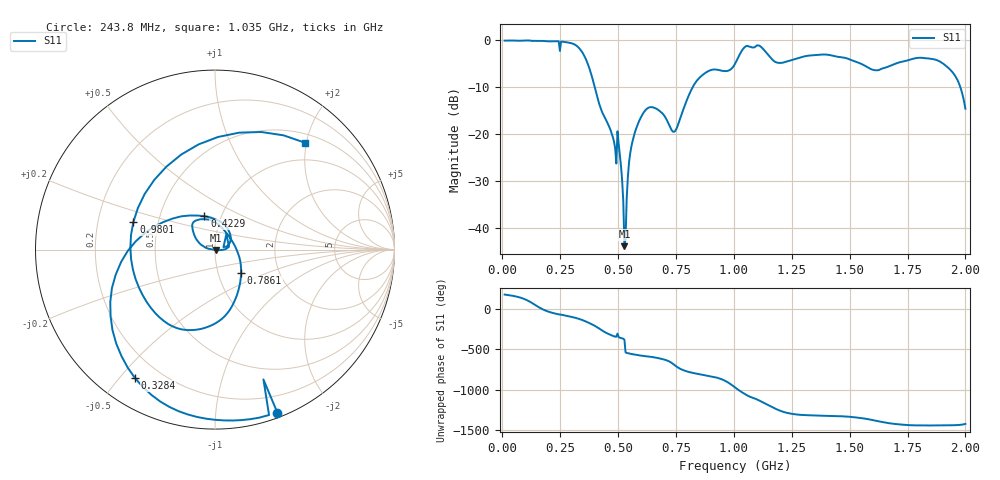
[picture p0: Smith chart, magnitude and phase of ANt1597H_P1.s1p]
!Created with skrf (http://scikit-rf.org).
# Hz S RI R 50.0
!freq ReS11 ImS11
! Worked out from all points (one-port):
!   401 points, 10 MHz to 2 GHz, reference 50 ohm
!   lowest |S11| = -43.8 dB at 527.4 MHz (marker M1), VSWR 1.01, Z = 50.6 - j0.235 ohm
!   |S11| at or under -10 dB: 399.5 MHz to 822 MHz (422.5 MHz wide, 69.2 % of centre); 1.978 GHz to end of sweep
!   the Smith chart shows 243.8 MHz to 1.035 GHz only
!   S11 on the Smith chart (normalised r, x): 243.8 MHz: 0.04, -1.45; 328.4 MHz: 0.11, -0.55; 422.9 MHz: 0.83, +0.32; 786.1 MHz: 1.29, -0.35; 980.1 MHz: 0.36, +0.14; 1.035 GHz: 0.65, +1.97
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1e7  -0.9908 0.0702
7.4675e7  -0.7692 0.6236
1.1945e8  0.05 0.993
1.692e8  0.9869 0.0183
2.04025e8  0.7494 -0.6248
2.43825e8  0.3482 -0.9101
2.5875e8  0.2453 -0.9366
3.284e8  -0.4462 -0.7151
3.682e8  -0.5532 -0.1396
4.22925e8  -0.0588 0.1866
5.075e8  0.0606 0.00332
5.274e8  0.00602 -0.00232
5.5725e8  -0.0701 0.0223
6.07e8  -0.1241 0.1092
7.5625e8  0.1209 -0.00173
7.861e8  0.1453 -0.1323
9.055e8  -0.2137 -0.4368
9.80125e8  -0.4546 0.1546
1.005e9  -0.1879 0.5298
1.03485e9  0.501 0.5956
1.069675e9  0.8513 -0.084
1.1244e9  0.2233 -0.7892
1.17415e9  -0.5014 -0.3279
1.25375e9  -0.4874 0.3822
1.5025e9  -0.1743 0.5981
1.75125e9  0.6112 0.0484
1.91045e9  0.5489 0.019
2e9  0.1769 0.0618
